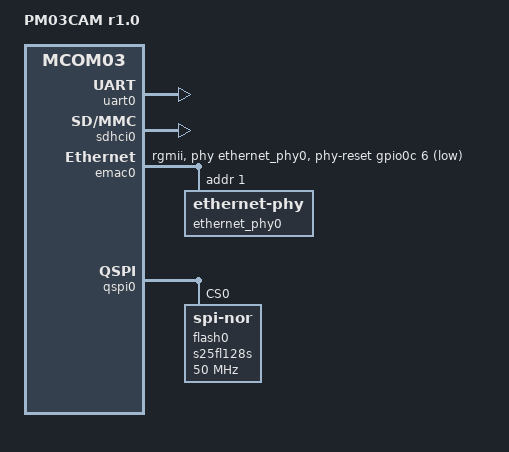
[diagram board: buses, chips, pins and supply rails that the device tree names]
// SPDX-License-Identifier: GPL-2.0+
/*
 * Copyright 2022-2023 RnD Center "ELVEES", JSC
 */

/dts-v1/;

#include <dt-bindings/gpio/gpio.h>

#include "mcom03.dtsi"

/ {
	model = "PM03CAM r1.0";
	compatible = "elvees,pm03cam-r1.0",
		     "elvees,pm03cam",
		     "elvees,mcom03";

	aliases {
		mmc0 = &sdhci1;
		mmc1 = &sdhci0;
	};

	chosen {
		stdout-path = "serial0:115200n8";
	};

	/delete-node/ sdr@1900000;
};

&uart0 {
	status = "okay";
	clock-frequency = <27920454>;
};

&sdhci0 {
	status = "okay";

	/* Disable High Speed support
	 * Disable 1.8V support
	 * Disable SDR50, SDR104 and DDR50 support
	 */
	sdhci-caps-mask = <0x7 0x4200000>;
	sdhci-caps = <0x0 0x0>;
};

&emac0 {
	status = "okay";
	phy-mode = "rgmii";
	phy-handle = <&ethernet_phy0>;
	phy-reset-gpios = <&gpio0c 6 GPIO_ACTIVE_LOW>;
	elvees,pads-1v8-en;

	ethernet_phy0: ethernet-phy@1 {
		reg = <0x1>;
	};
};

&qspi0 {
	status = "okay";

	flash0: s25fl128s@0 {
		#address-cells = <1>;
		#size-cells = <1>;
		compatible = "jedec,spi-nor", "spi-flash";
		reg = <0x0>;
		/* This is the highest frequency at which all commands are
		 * supported by the flash device.
		 */
		spi-max-frequency = <50000000>;

		spi-tx-bus-width = <4>;
		spi-rx-bus-width = <4>;
	};
};
